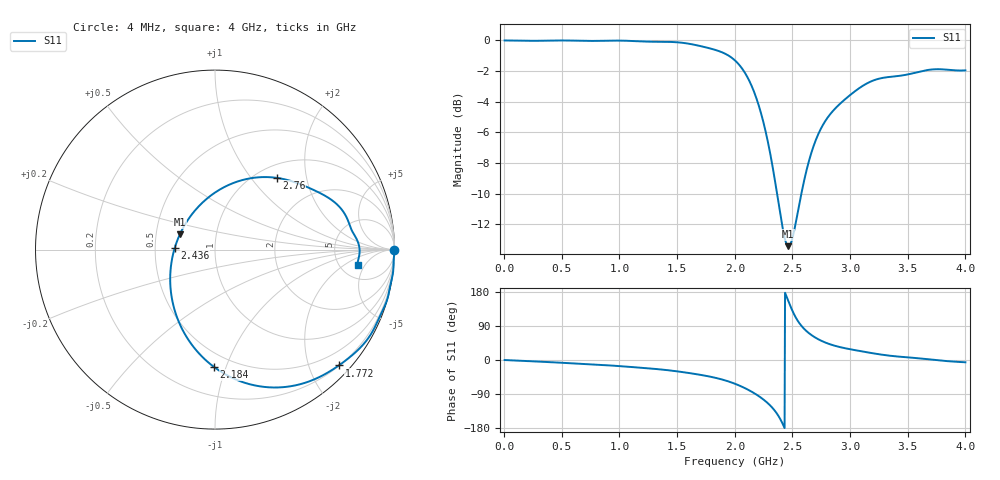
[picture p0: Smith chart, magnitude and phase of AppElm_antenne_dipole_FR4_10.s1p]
! TOUCHSTONE file generated by CST MICROWAVE STUDIO
! Date and time: Thu May 12 14:30:06 2022
! Project name: AppElm_antenne_dipole_FR4.cst
! Parameters = {L=38.8; e=0.035; f=2.45e+09; h=1.6; i=0.96; l1=4; lambda=122.449; ls=30; wl=1.7; ws=80}
! Header version: 2018
! Port assignment regex: !\s*Touchstone port\s*([0-9]+)\s*=\s*(CST MWS port|CST DS port)\s*([0-9]+|Zmin|Zmax)\s*\(\"(.*)\"\)(\s*mode\s*([0-9]+))?.*
! Touchstone port assignment:
! Touchstone port 1 = CST MWS port 1 ("")
# GHz S MA R 50
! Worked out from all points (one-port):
!   1000 points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, 4 MHz to 4 GHz, reference 50 ohm
!   lowest |S11| = -13.4 dB at 2.464 GHz (marker M1), VSWR 1.54, Z = 33.2 + j5.99 ohm
!   |S11| at or under -10 dB: 2.367 GHz to 2.577 GHz (210.7 MHz wide, 8.52 % of centre)
!   S11 on the Smith chart (normalised r, x): 4 MHz: open; 1.772 GHz: 0.21, -2.52; 2.184 GHz: 0.40, -0.91; 2.436 GHz: 0.63, +0.01; 2.76 GHz: 1.22, +1.35; 4 GHz: 7.34, -3.41
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0.004  1 -0.1
0.504  1 -7.4
1.004  0.9988 -16.2
1.308  0.9902 -23.5
1.504  0.9862 -30.1
1.64  0.9699 -36.1
1.772  0.9448 -43.1
1.896  0.9128 -52.0
2.004  0.8592 -63.0
2.1  0.7708 -76.0
2.184  0.6536 -90.5
2.256  0.5269 -106.1
2.316  0.4109 -122.8
2.376  0.3003 -146.3
2.436  0.2243 177.4
2.464  0.2134 156.2
2.504  0.2298 127.1
2.564  0.2981 95.6
2.624  0.3795 75.7
2.688  0.4576 61.1
2.76  0.5266 49.4
2.864  0.5962 37.9
3.004  0.6654 28.2
3.228  0.7463 16.2
3.36  0.7617 10.8
3.504  0.7754 6.9
3.724  0.805 0.5
4  0.7989 -6.0
